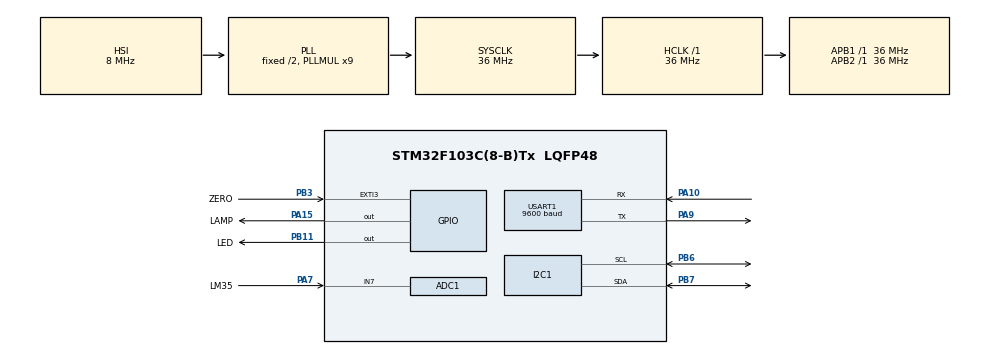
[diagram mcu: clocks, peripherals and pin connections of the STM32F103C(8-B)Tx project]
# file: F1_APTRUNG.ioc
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ADC1.Channel-0\#ChannelRegularConversion=ADC_CHANNEL_7
ADC1.NbrOfConversion=1
ADC1.NbrOfConversionFlag=1
ADC1.Rank-0\#ChannelRegularConversion=1
ADC1.SamplingTime-0\#ChannelRegularConversion=ADC_SAMPLETIME_41CYCLES_5
ADC1.master=1
Mcu.Family=STM32F1
Mcu.Name=STM32F103C(8-B)Tx
Mcu.Package=LQFP48
NVIC.EXTI3_IRQn=true\:0\:0\:false\:false\:true\:true\:true\:true
NVIC.PriorityGroup=NVIC_PRIORITYGROUP_4
NVIC.TIM4_IRQn=true\:0\:0\:false\:false\:true\:true\:true\:true
PA10.Mode=Asynchronous
PA10.Signal=USART1_RX
PA13.Mode=Serial_Wire
PA13.Signal=SYS_JTMS-SWDIO
PA14.Mode=Serial_Wire
PA14.Signal=SYS_JTCK-SWCLK
PA15.GPIO_Label=LAMP
PA15.Signal=GPIO_Output
PA7.GPIO_Label=LM35
PA7.Signal=ADCx_IN7
PA9.Mode=Asynchronous
PA9.Signal=USART1_TX
PB11.GPIO_Label=LED
PB11.Signal=GPIO_Output
PB3.GPIO_Label=ZERO
PB3.GPIO_ModeDefaultEXTI=GPIO_MODE_IT_RISING
PB3.Signal=GPXTI3
PB6.Mode=I2C
PB6.Signal=I2C1_SCL
PB7.Mode=I2C
PB7.Signal=I2C1_SDA
ProjectManager.HeapSize=0x200
ProjectManager.StackSize=0x400
ProjectManager.TargetToolchain=MDK-ARM V5.32
RCC.ADCPresc=RCC_ADCPCLK2_DIV4
RCC.AHBFreq_Value=36000000
RCC.APB1Freq_Value=36000000
RCC.APB1TimFreq_Value=36000000
RCC.APB2Freq_Value=36000000
RCC.APB2TimFreq_Value=36000000
RCC.HCLKFreq_Value=36000000
RCC.PLLMUL=RCC_PLL_MUL9
RCC.SYSCLKFreq_VALUE=36000000
RCC.SYSCLKSource=RCC_SYSCLKSOURCE_PLLCLK
RCC.USBFreq_Value=36000000
SH.ADCx_IN7.0=ADC1_IN7,IN7
TIM4.Period=20000
TIM4.Prescaler=36-1
USART1.BaudRate=9600
USART1.VirtualMode=VM_ASYNC
VP_TIM4_VS_ClockSourceINT.Mode=Internal
board=custom

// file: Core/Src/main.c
/* USER CODE BEGIN Header */
/**
  ******************************************************************************
  * @file           : main.c
  * @brief          : Main program body
  ******************************************************************************
  * @attention
  *
  * Copyright (c) 2024 STMicroelectronics.
  * All rights reserved.
  *
  * This software is licensed under terms that can be found in the LICENSE file
  * in the root directory of this software component.
  * If no LICENSE file comes with this software, it is provided AS-IS.
  *
  ******************************************************************************
  */
/* USER CODE END Header */
#include "main.h"
#include "adc.h"
#include "i2c.h"
#include "tim.h"
#include "usart.h"
#include "gpio.h"

/* USER CODE BEGIN Includes */
#include "stdio.h"
#include "stdbool.h"
/* USER CODE END Includes */

void SystemClock_Config(void);

/* USER CODE BEGIN 0 */
uint16_t valueAdcLm35;
uint8_t data[10];

bool zero_cross = false;
volatile uint32_t i;

uint8_t dim = 128;
//void HAL_GPIO_EXTI_Callback(uint16_t GPIO_Pin)
//{
//	if(GPIO_Pin == ZERO_Pin)
//	{
//			zero_cross = true;
//			i = 0;
//			HAL_GPIO_WritePin(LAMP_GPIO_Port, LAMP_Pin, 0);
//	}
//}
void HAL_TIM_PeriodElapsedCallback(TIM_HandleTypeDef *htim)
{
	if(htim->Instance == htim4.Instance)
	{
		if(zero_cross == true)
		{
				if (i >= dim) {
					HAL_GPIO_WritePin(LAMP_GPIO_Port, LAMP_Pin, 1);
					i = 0;
					zero_cross = false;
				} else {
					i++;
				}
		}
	}

}
/* USER CODE END 0 */

int main(void)
{

  /* MCU Configuration--------------------------------------------------------*/

  /* Reset of all peripherals, Initializes the Flash interface and the Systick. */
  HAL_Init();

  /* Configure the system clock */
  SystemClock_Config();

  /* Initialize all configured peripherals */
  MX_GPIO_Init();
  MX_ADC1_Init();
  MX_USART1_UART_Init();
  MX_I2C1_Init();
  MX_TIM4_Init();
  /* USER CODE BEGIN 2 */
//	HAL_ADCEx_Calibration_Start(&hadc1);
	//HAL_TIM_Base_Start_IT(&htim4);
  /* USER CODE END 2 */

  /* Infinite loop */
  /* USER CODE BEGIN WHILE */
  while (1)
  {
		HAL_ADC_Start(&hadc1);
		HAL_ADC_PollForConversion(&hadc1, 1);
		valueAdcLm35 = HAL_ADC_GetValue(&hadc1);
		sprintf((char*)data, "%d \n", valueAdcLm35);
		HAL_UART_Transmit(&huart1, data, sizeof(data), 1000);
		//HAL_UART_Transmit(&huart1, (uint8_t*)"x", 1, 1000);
		HAL_GPIO_TogglePin(LED_GPIO_Port, LED_Pin);

		HAL_Delay(1000);
    /* USER CODE END WHILE */

  }
}

void SystemClock_Config(void)
{
  RCC_OscInitTypeDef RCC_OscInitStruct = {0};
  RCC_ClkInitTypeDef RCC_ClkInitStruct = {0};
  RCC_PeriphCLKInitTypeDef PeriphClkInit = {0};

  /** Initializes the RCC Oscillators according to the specified parameters
  * in the RCC_OscInitTypeDef structure.
  */
  RCC_OscInitStruct.OscillatorType = RCC_OSCILLATORTYPE_HSI;
  RCC_OscInitStruct.HSIState = RCC_HSI_ON;
  RCC_OscInitStruct.HSICalibrationValue = RCC_HSICALIBRATION_DEFAULT;
  RCC_OscInitStruct.PLL.PLLState = RCC_PLL_ON;
  RCC_OscInitStruct.PLL.PLLSource = RCC_PLLSOURCE_HSI_DIV2;
  RCC_OscInitStruct.PLL.PLLMUL = RCC_PLL_MUL9;
  if (HAL_RCC_OscConfig(&RCC_OscInitStruct) != HAL_OK)
  {
    Error_Handler();
  }

  /** Initializes the CPU, AHB and APB buses clocks
  */
  RCC_ClkInitStruct.ClockType = RCC_CLOCKTYPE_HCLK|RCC_CLOCKTYPE_SYSCLK
                              |RCC_CLOCKTYPE_PCLK1|RCC_CLOCKTYPE_PCLK2;
  RCC_ClkInitStruct.SYSCLKSource = RCC_SYSCLKSOURCE_PLLCLK;
  RCC_ClkInitStruct.AHBCLKDivider = RCC_SYSCLK_DIV1;
  RCC_ClkInitStruct.APB1CLKDivider = RCC_HCLK_DIV1;
  RCC_ClkInitStruct.APB2CLKDivider = RCC_HCLK_DIV1;

  if (HAL_RCC_ClockConfig(&RCC_ClkInitStruct, FLASH_LATENCY_1) != HAL_OK)
  {
    Error_Handler();
  }
  PeriphClkInit.PeriphClockSelection = RCC_PERIPHCLK_ADC;
  PeriphClkInit.AdcClockSelection = RCC_ADCPCLK2_DIV4;
  if (HAL_RCCEx_PeriphCLKConfig(&PeriphClkInit) != HAL_OK)
  {
    Error_Handler();
  }
}

void Error_Handler(void)
{
  __disable_irq();
  while (1)
  {
  }
}
